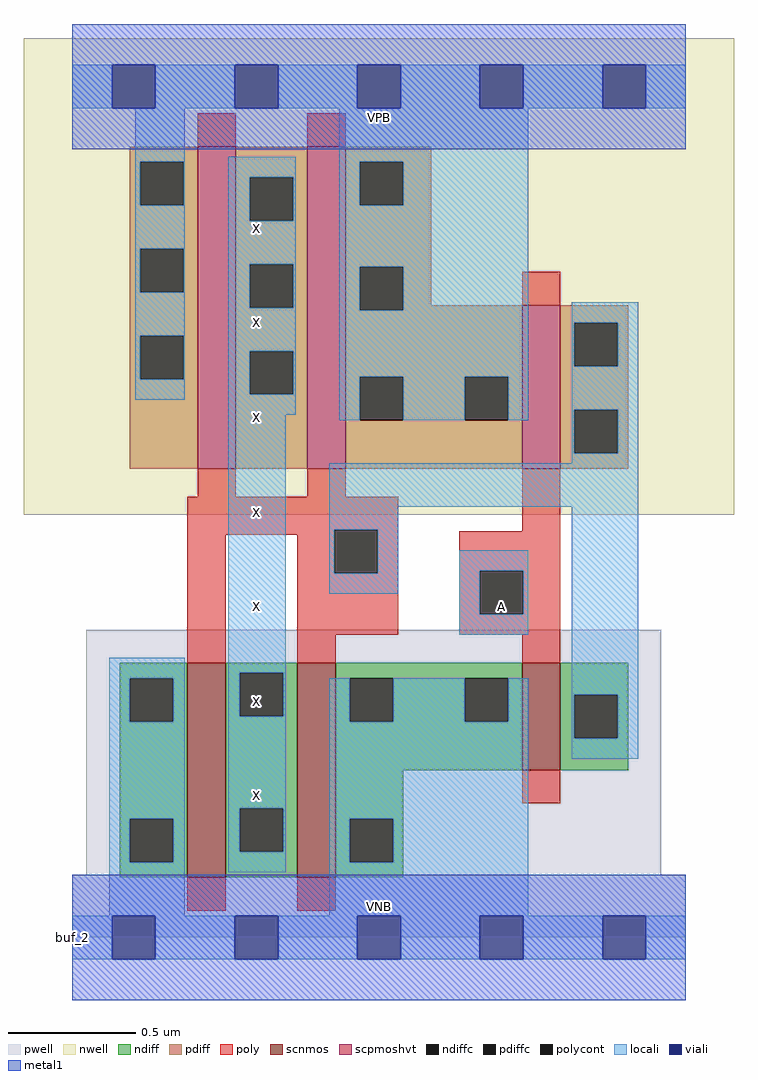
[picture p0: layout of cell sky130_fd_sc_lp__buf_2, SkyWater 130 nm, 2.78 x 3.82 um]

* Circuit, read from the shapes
.subckt sky130_fd_sc_lp__buf_2 A VGND VNB VPB VPWR X
XM1 X n1 VGND VNB sky130_fd_pr__nfet_01v8 w=0.84 l=0.15 m=2
XM2 n1 A VGND VNB sky130_fd_pr__nfet_01v8 w=0.42 l=0.15
XM3 X n1 VPWR VPB sky130_fd_pr__pfet_01v8_hvt w=1.26 l=0.15 m=2
XM4 n1 A VPWR VPB sky130_fd_pr__pfet_01v8_hvt w=0.64 l=0.15
.ends

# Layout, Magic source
magic
tech sky130A
magscale 1 2
<< nwell >>
rect -38 331 518 704
<< pwell >>
rect 11 49 461 241
rect 0 0 480 49
<< scnmos >>
rect 90 47 120 215
rect 176 47 206 215
rect 352 131 382 215
<< scpmoshvt >>
rect 98 367 128 619
rect 184 367 214 619
rect 352 367 382 495
<< ndiff >>
rect 37 203 90 215
rect 37 169 45 203
rect 79 169 90 203
rect 37 93 90 169
rect 37 59 45 93
rect 79 59 90 93
rect 37 47 90 59
rect 120 207 176 215
rect 120 173 131 207
rect 165 173 176 207
rect 120 101 176 173
rect 120 67 131 101
rect 165 67 176 101
rect 120 47 176 67
rect 206 203 352 215
rect 206 169 217 203
rect 251 169 307 203
rect 341 169 352 203
rect 206 131 352 169
rect 382 190 435 215
rect 382 156 393 190
rect 427 156 435 190
rect 382 131 435 156
rect 206 93 259 131
rect 206 59 217 93
rect 251 59 259 93
rect 206 47 259 59
<< pdiff >>
rect 45 607 98 619
rect 45 573 53 607
rect 87 573 98 607
rect 45 539 98 573
rect 45 505 53 539
rect 87 505 98 539
rect 45 471 98 505
rect 45 437 53 471
rect 87 437 98 471
rect 45 367 98 437
rect 128 595 184 619
rect 128 561 139 595
rect 173 561 184 595
rect 128 527 184 561
rect 128 493 139 527
rect 173 493 184 527
rect 128 459 184 493
rect 128 425 139 459
rect 173 425 184 459
rect 128 367 184 425
rect 214 607 281 619
rect 214 573 225 607
rect 259 573 281 607
rect 214 525 281 573
rect 214 491 225 525
rect 259 495 281 525
rect 259 491 352 495
rect 214 439 352 491
rect 214 405 225 439
rect 259 405 307 439
rect 341 405 352 439
rect 214 367 352 405
rect 382 481 435 495
rect 382 447 393 481
rect 427 447 435 481
rect 382 413 435 447
rect 382 379 393 413
rect 427 379 435 413
rect 382 367 435 379
<< ndiffc >>
rect 45 169 79 203
rect 45 59 79 93
rect 131 173 165 207
rect 131 67 165 101
rect 217 169 251 203
rect 307 169 341 203
rect 393 156 427 190
rect 217 59 251 93
<< pdiffc >>
rect 53 573 87 607
rect 53 505 87 539
rect 53 437 87 471
rect 139 561 173 595
rect 139 493 173 527
rect 139 425 173 459
rect 225 573 259 607
rect 225 491 259 525
rect 225 405 259 439
rect 307 405 341 439
rect 393 447 427 481
rect 393 379 427 413
<< poly >>
rect 98 619 128 645
rect 184 619 214 645
rect 352 495 382 521
rect 98 345 128 367
rect 184 345 214 367
rect 90 319 255 345
rect 90 315 205 319
rect 90 215 120 315
rect 176 285 205 315
rect 239 285 255 319
rect 352 318 382 367
rect 176 237 255 285
rect 303 287 382 318
rect 303 253 319 287
rect 353 253 382 287
rect 303 237 382 253
rect 176 215 206 237
rect 352 215 382 237
rect 352 105 382 131
rect 90 21 120 47
rect 176 21 206 47
<< polycont >>
rect 205 285 239 319
rect 319 253 353 287
<< locali >>
rect 0 649 31 683
rect 65 649 127 683
rect 161 649 223 683
rect 257 649 319 683
rect 353 649 415 683
rect 449 649 480 683
rect 49 607 88 649
rect 49 573 53 607
rect 87 573 88 607
rect 49 539 88 573
rect 49 505 53 539
rect 87 505 88 539
rect 49 471 88 505
rect 49 437 53 471
rect 87 437 88 471
rect 49 421 88 437
rect 122 595 175 611
rect 122 561 139 595
rect 173 561 175 595
rect 122 527 175 561
rect 122 493 139 527
rect 173 493 175 527
rect 122 459 175 493
rect 122 425 139 459
rect 173 425 175 459
rect 122 409 175 425
rect 209 607 357 649
rect 209 573 225 607
rect 259 573 357 607
rect 209 525 357 573
rect 209 491 225 525
rect 259 491 357 525
rect 209 439 357 491
rect 29 203 88 219
rect 29 169 45 203
rect 79 169 88 203
rect 29 93 88 169
rect 29 59 45 93
rect 79 59 88 93
rect 29 17 88 59
rect 122 207 167 409
rect 209 405 225 439
rect 259 405 307 439
rect 341 405 357 439
rect 391 481 443 497
rect 391 447 393 481
rect 427 447 443 481
rect 391 413 443 447
rect 391 379 393 413
rect 427 379 443 413
rect 391 371 443 379
rect 201 337 443 371
rect 201 319 255 337
rect 201 285 205 319
rect 239 285 255 319
rect 201 269 255 285
rect 303 287 357 303
rect 303 253 319 287
rect 353 253 357 287
rect 303 237 357 253
rect 122 173 131 207
rect 165 173 167 207
rect 122 101 167 173
rect 122 67 131 101
rect 165 67 167 101
rect 122 51 167 67
rect 201 169 217 203
rect 251 169 307 203
rect 341 169 357 203
rect 201 93 357 169
rect 391 190 443 337
rect 391 156 393 190
rect 427 156 443 190
rect 391 140 443 156
rect 201 59 217 93
rect 251 59 357 93
rect 201 17 357 59
rect 0 -17 31 17
rect 65 -17 127 17
rect 161 -17 223 17
rect 257 -17 319 17
rect 353 -17 415 17
rect 449 -17 480 17
<< viali >>
rect 31 649 65 683
rect 127 649 161 683
rect 223 649 257 683
rect 319 649 353 683
rect 415 649 449 683
rect 31 -17 65 17
rect 127 -17 161 17
rect 223 -17 257 17
rect 319 -17 353 17
rect 415 -17 449 17
<< metal1 >>
rect 0 683 480 715
rect 0 649 31 683
rect 65 649 127 683
rect 161 649 223 683
rect 257 649 319 683
rect 353 649 415 683
rect 449 649 480 683
rect 0 617 480 649
rect 0 17 480 49
rect 0 -17 31 17
rect 65 -17 127 17
rect 161 -17 223 17
rect 257 -17 319 17
rect 353 -17 415 17
rect 449 -17 480 17
rect 0 -49 480 -17
<< labels >>
flabel pwell s 0 0 480 49 0 FreeSans 200 0 0 0 VNB
port 3 nsew ground bidirectional
flabel nwell s 0 617 480 666 0 FreeSans 200 0 0 0 VPB
port 4 nsew power bidirectional
rlabel comment s 0 0 0 0 4 buf_2
flabel metal1 s 0 617 480 666 0 FreeSans 340 0 0 0 VPWR
port 5 nsew power bidirectional
flabel metal1 s 0 0 480 49 0 FreeSans 340 0 0 0 VGND
port 2 nsew ground bidirectional
flabel locali s 127 94 161 128 0 FreeSans 340 0 0 0 X
port 6 nsew signal output
flabel locali s 127 168 161 202 0 FreeSans 340 0 0 0 X
port 6 nsew signal output
flabel locali s 127 242 161 276 0 FreeSans 340 0 0 0 X
port 6 nsew signal output
flabel locali s 127 316 161 350 0 FreeSans 340 0 0 0 X
port 6 nsew signal output
flabel locali s 127 390 161 424 0 FreeSans 340 0 0 0 X
port 6 nsew signal output
flabel locali s 127 464 161 498 0 FreeSans 340 0 0 0 X
port 6 nsew signal output
flabel locali s 127 538 161 572 0 FreeSans 340 0 0 0 X
port 6 nsew signal output
flabel locali s 319 242 353 276 0 FreeSans 340 0 0 0 A
port 1 nsew signal input
<< properties >>
string LEFsite unit
string LEFclass CORE
string FIXED_BBOX 0 0 480 666
string GDS_FILE $PDKPATH/libs.ref/sky130_fd_sc_lp/gds/sky130_fd_sc_lp.gds
string LEFsymmetry X Y R90
string GDS_END 5096082
string GDS_START 5090838
<< end >>
